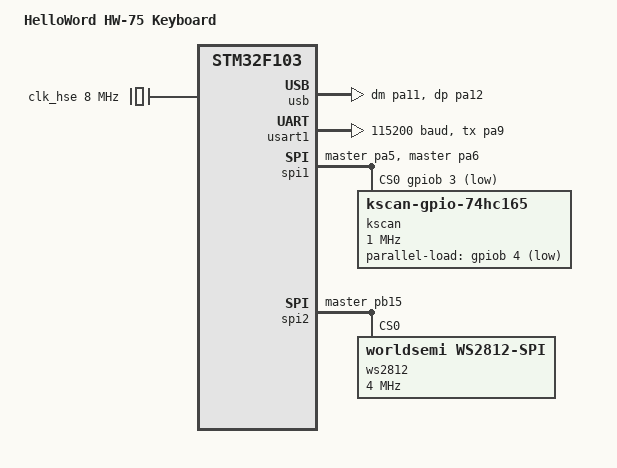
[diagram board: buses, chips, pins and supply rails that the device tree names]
/*
 * Copyright (c) 2022-2023 XiNGRZ
 * SPDX-License-Identifier: MIT
 */

/dts-v1/;
#include <st/f1/stm32f103Xb.dtsi>
#include <st/f1/stm32f103c(8-b)tx-pinctrl.dtsi>
#include <dt-bindings/led/led.h>
#include <dt-bindings/zmk/matrix_transform.h>

#include "hw75_keyboard-physical-layout.dtsi"

/ {
	model = "HelloWord HW-75 Keyboard";
	compatible = "st,stm32f103";

	chosen {
		zephyr,code-partition = &code_partition;
		zephyr,sram = &sram0;
		zephyr,flash = &flash0;
		zmk,kscan = &kscan;
		zmk,underglow = &led_strip;
	};

	aliases {
		uart-comm = &slip;
	};

	led_strip: led-strip-remap {
		compatible = "zmk,led-strip-remap";

		chain-length = <101>;
		led-strip = <&ws2812>;
		map = <
			/* hub */
			 99  98  97  96  95  94  93  92  91  90  89  88  87  86  85 100
			/* keys */
			 13      12  11  10   9   8   7   6   5   4   3   2   1   0
			 14  15  16  17  18  19  20  21  22  23  24  25  26  27  28
			 43  42  41  40  39  38  37  36  35  34  33  32  31  30  29
			 44  45  46  47  48  49  50  51  52  53  54  55      56  57
			 71      70  69  68  67  66  65  64  63  62  61  60  59  58
			 72  73  74              75          76  77  78  79  80  81
			/* status (top/mid/bottom) */
			 84  83  82
		>;

		status {
			label = "STATUS";
			led-indexes = <84 83 82>;
		};
	};

	slip: slip {
		compatible = "zmk,uart-slip";
		uart = <&usart1>;
	};
};

&clk_hse {
	clock-frequency = <DT_FREQ_M(8)>;
	status = "okay";
};

&pll {
	mul = <6>;
	clocks = <&clk_hse>;
	status = "okay";
};

&rcc {
	clocks = <&pll>;
	clock-frequency = <DT_FREQ_M(48)>;
	ahb-prescaler = <1>;
	apb1-prescaler = <2>;
	apb2-prescaler = <1>;
};

&pinctrl {
	swj-cfg = "jtag-disable";
};

&usb {
	pinctrl-0 = <&usb_dm_pa11 &usb_dp_pa12>;
	pinctrl-names = "default";
	status = "okay";
};

&usart1 {
	current-speed = <115200>;
	pinctrl-0 = <&usart1_tx_pa9>;
	pinctrl-names = "default";
	status = "okay";
};

&spi1 {
	pinctrl-0 = <&spi1_sck_master_pa5 &spi1_miso_master_pa6>;
	pinctrl-names = "default";
	status = "okay";

	cs-gpios = <&gpiob 3 GPIO_ACTIVE_LOW>;

	kscan: kscan-gpio-74hc165@0 {
		compatible = "zmk,kscan-gpio-74hc165";
		reg = <0>;
		spi-max-frequency = <1000000>;
		chain-length = <11>;
		scan-masks = [FF FF FF FF FF FF FF FF FF FF FF];
		parallel-load-gpios = <&gpiob 4 GPIO_ACTIVE_LOW>;
	};
};

&spi2 {
	pinctrl-0 = <&spi2_mosi_master_pb15>;
	pinctrl-names = "default";
	status = "okay";

	ws2812: ws2812@0 {
		compatible = "worldsemi,ws2812-spi";

		reg = <0>;
		spi-max-frequency = <4000000>;

		chain-length = <101>;
		spi-one-frame = <0x70>;
		spi-zero-frame = <0x40>;
		color-mapping = <LED_COLOR_ID_GREEN LED_COLOR_ID_RED LED_COLOR_ID_BLUE>;
	};
};

&flash0 {
	partitions {
		compatible = "fixed-partitions";
		#address-cells = <1>;
		#size-cells = <1>;

		bootloader_partition: partition@0 {
			label = "bootloader";
			reg = <0x00000000 DT_SIZE_K(16)>;
		};

		code_partition: partition@4000 {
			label = "code_partition";
			reg = <0x00004000 DT_SIZE_K(104)>;
		};

		storage_partition: partition@1e000 {
			label = "storage";
			reg = <0x0001e000 DT_SIZE_K(8)>;
		};
	};
};
